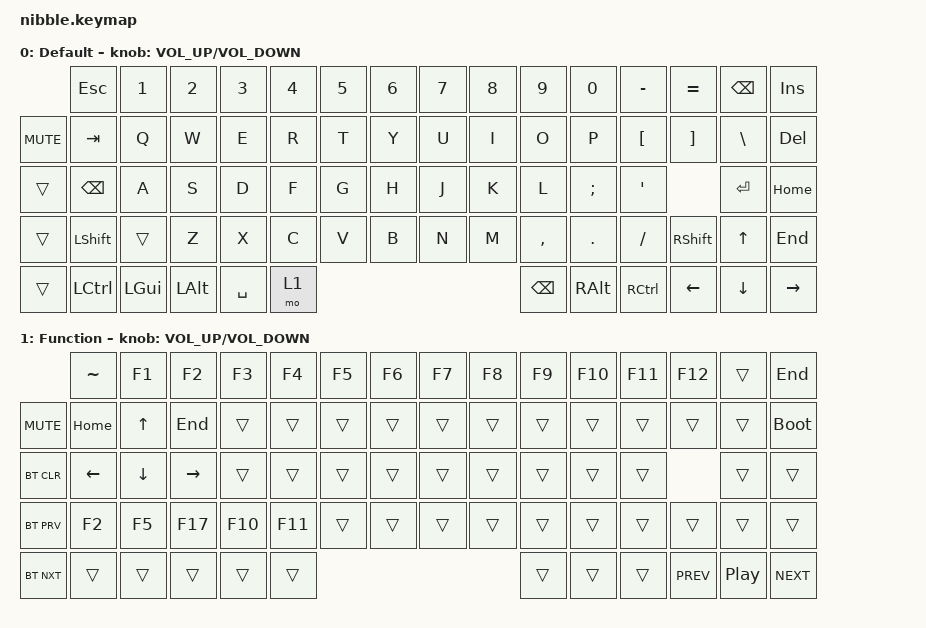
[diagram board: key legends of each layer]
/*
 * Copyright (c) 2020 The ZMK Contributors
 *
 * SPDX-License-Identifier: MIT
 */

#include <behaviors.dtsi>
#include <dt-bindings/zmk/keys.h>
#include <dt-bindings/zmk/bt.h>

/ {
	sensors {
		compatible = "zmk,keymap-sensors";
		sensors = <&encoder_1>;
	};

	keymap {
		compatible = "zmk,keymap";

		default_layer {
			label = "Default";

			sensor-bindings = <&inc_dec_kp C_VOLUME_UP C_VOLUME_DOWN>;

			bindings = <
            &kp ESC   &kp N1    &kp N2    &kp N3    &kp N4    &kp N5    &kp N6    &kp N7    &kp N8  &kp N9    &kp N0    &kp MINUS &kp EQUAL &kp BSPC &kp INSERT
&kp C_MUTE  &kp TAB   &kp Q     &kp W     &kp E     &kp R     &kp T     &kp Y     &kp U     &kp I   &kp O     &kp P     &kp LBKT  &kp RBKT  &kp BSLH &kp DEL
&trans      &kp BSPC  &kp A     &kp S     &kp D     &kp F     &kp G     &kp H     &kp J     &kp K   &kp L     &kp SEMI  &kp SQT             &kp RET  &kp HOME
&trans      &kp LSHFT &trans    &kp Z     &kp X     &kp C     &kp V     &kp B     &kp N     &kp M   &kp COMMA &kp DOT   &kp FSLH  &kp RSHFT &kp UP   &kp END
&trans      &kp LCTRL &kp LGUI  &kp LALT         &kp SPACE   &mo 1    &kp BSPC                      &kp RALT  &kp RCTRL           &kp LEFT  &kp DOWN &kp RIGHT
			>;
		};
		function_layer {
			label = "Function";
			
			sensor-bindings = <&inc_dec_kp C_VOLUME_UP C_VOLUME_DOWN>;

			bindings = <
            &kp TILDE &kp F1    &kp F2     &kp F3    &kp F4    &kp F5    &kp F6    &kp F7    &kp F8  &kp F9    &kp F10   &kp F11   &kp F12   &trans   &kp END
&kp C_MUTE  &kp HOME  &kp UP    &kp END    &trans    &trans    &trans    &trans    &trans    &trans  &trans    &trans    &trans    &trans    &trans   &bootloader
&bt BT_CLR  &kp LEFT  &kp DOWN  &kp RIGHT  &trans    &trans    &trans    &trans    &trans    &trans  &trans    &trans    &trans              &trans   &trans
&bt BT_PRV  &kp F2    &kp F5    &kp F17    &kp F10   &kp F11   &trans    &trans    &trans    &trans  &trans    &trans    &trans    &trans    &trans   &trans
&bt BT_NXT  &trans    &trans    &trans                  &trans    &trans                     &trans  &trans    &trans    &kp C_PREV          &kp C_PP &kp C_NEXT
			>;
		};
	};
};
